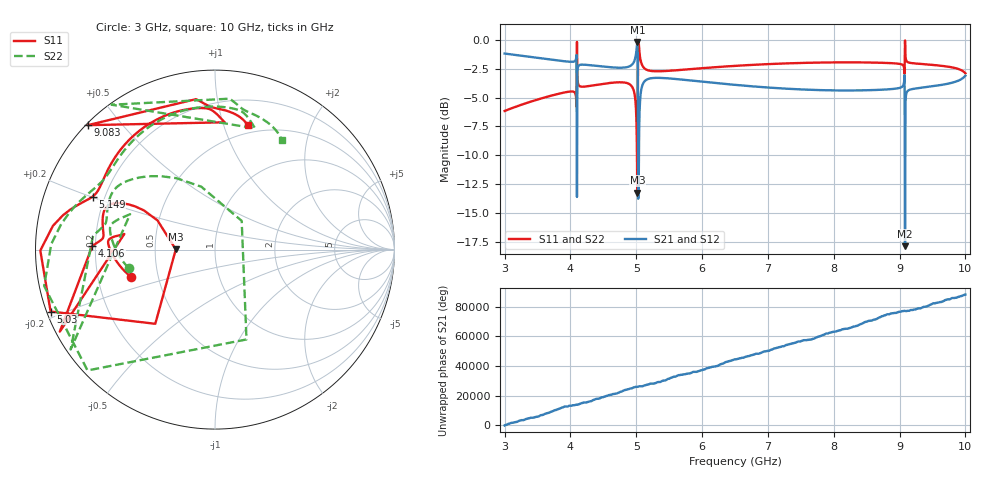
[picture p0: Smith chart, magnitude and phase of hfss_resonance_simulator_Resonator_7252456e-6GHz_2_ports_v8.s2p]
! Touchstone file exported from HFSS 2024.1.0
!  File:  C:/Users/phobo/Documents/Ansoft/hfss_resonance_simulator.aedt
!  Generated:  08:36:53 PM May 27, 2025
!  Design:  Resonator_7252456e-6GHz_2_ports_v8
!  Project:  hfss_resonance_simulator
!  Setup:  Setup1
!  Solution:  Sweep
# GHz S MA R 50.000000
! Terminal data exported
! Port[1] = 1
! Port[2] = 2
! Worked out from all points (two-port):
!   1001 points, 3 GHz to 10 GHz, reference 50 ohm
!   highest |S21| = -0.21 dB at 5.016 GHz (marker M1); lowest = -17.8 dB at 9.083 GHz (marker M2)
!   |S21| within 3 dB of the highest: start of sweep to 4.093 GHz; 4.106 GHz to 5.024 GHz (918.3 MHz wide, 20.1 % of centre)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
!   lowest |S11| = -13.2 dB at 5.016 GHz (marker M3), VSWR 1.56, Z = 32.1 + j0.0394 ohm
!   |S11| at or under -10 dB: 5.010785 GHz to 5.018918 GHz (8.132 MHz wide, 0.162 % of centre)
!   |S22| runs from -13.2 to -0.1 dB; largest |S21 - S12| = 3.2e-14
!   S11 on the Smith chart (normalised r, x): 3 GHz: 0.35, -0.14; 4.106 GHz: 0.19, +0.01; 5.03 GHz: 0.01, -0.18; 5.149 GHz: 0.15, +0.20; 9.083 GHz: 0.00, +0.41; 10 GHz: 0.43, +1.21
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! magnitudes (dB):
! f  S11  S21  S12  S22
! 3 GHz  -6.2  -1.2  -1.2  -6.2
! 4.057 GHz  -4.5  -1.9  -1.9  -4.5
! 4.064 GHz  -4.6  -1.9  -1.9  -4.6
! 4.106 GHz  -3.3  -2.7  -2.7  -3.3
! 4.169 GHz  -4.1  -2.2  -2.2  -4.1
! 4.876 GHz  -3.8  -2.4  -2.4  -3.8
! 4.953 GHz  -4.3  -2.0  -2.0  -4.3
! 4.988 GHz  -5.3  -1.5  -1.5  -5.3
! 5.016 GHz  -13.2  -0.2  -0.2  -13.2
! 5.03 GHz  -0.2  -13.7  -13.7  -0.2
! 5.065 GHz  -1.8  -4.8  -4.8  -1.8
! 5.086 GHz  -2.2  -4.1  -4.1  -2.2
! 5.149 GHz  -2.6  -3.5  -3.5  -2.6
! 5.338 GHz  -2.7  -3.3  -3.3  -2.7
! 6.5 GHz  -2.3  -3.9  -3.9  -2.3
! 7.669 GHz  -2.0  -4.3  -4.3  -2.0
! 8.838 GHz  -2.0  -4.3  -4.3  -2.0
! 9.041 GHz  -2.2  -4.1  -4.1  -2.2
! 9.048 GHz  -2.2  -4.0  -4.0  -2.2
! 9.083 GHz  -0.1  -17.8  -17.8  -0.1
! 9.16 GHz  -2.0  -4.3  -4.3  -2.0
! 10 GHz  -2.9  -3.1  -3.1  -2.9
